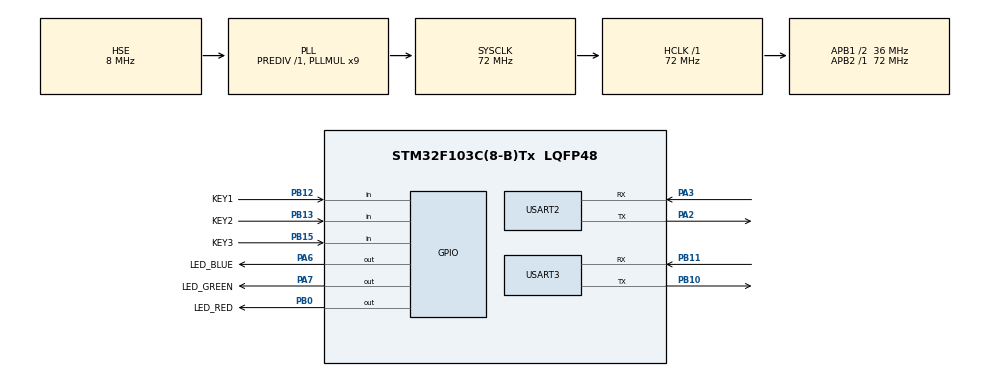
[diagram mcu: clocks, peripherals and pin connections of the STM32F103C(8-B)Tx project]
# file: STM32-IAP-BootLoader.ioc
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Mcu.Family=STM32F1
Mcu.Name=STM32F103C(8-B)Tx
Mcu.Package=LQFP48
NVIC.PriorityGroup=NVIC_PRIORITYGROUP_4
PA13.Mode=Serial_Wire
PA13.Signal=SYS_JTMS-SWDIO
PA14.Mode=Serial_Wire
PA14.Signal=SYS_JTCK-SWCLK
PA2.Mode=Asynchronous
PA2.Signal=USART2_TX
PA3.Mode=Asynchronous
PA3.Signal=USART2_RX
PA6.GPIO_Label=LED_BLUE
PA6.Signal=GPIO_Output
PA7.GPIO_Label=LED_GREEN
PA7.Signal=GPIO_Output
PB0.GPIO_Label=LED_RED
PB0.Signal=GPIO_Output
PB10.Mode=Asynchronous
PB10.Signal=USART3_TX
PB11.Mode=Asynchronous
PB11.Signal=USART3_RX
PB12.GPIO_Label=KEY1
PB12.Signal=GPIO_Input
PB13.GPIO_Label=KEY2
PB13.GPIO_PuPd=GPIO_PULLUP
PB13.Signal=GPIO_Input
PB15.GPIO_Label=KEY3
PB15.GPIO_PuPd=GPIO_PULLUP
PB15.Signal=GPIO_Input
PD0-OSC_IN.Mode=HSE-External-Oscillator
PD0-OSC_IN.Signal=RCC_OSC_IN
PD1-OSC_OUT.Mode=HSE-External-Oscillator
PD1-OSC_OUT.Signal=RCC_OSC_OUT
ProjectManager.HeapSize=0x200
ProjectManager.StackSize=0x400
ProjectManager.TargetToolchain=STM32CubeIDE
RCC.ADCPresc=RCC_ADCPCLK2_DIV6
RCC.AHBFreq_Value=72000000
RCC.APB1CLKDivider=RCC_HCLK_DIV2
RCC.APB1Freq_Value=36000000
RCC.APB1TimFreq_Value=72000000
RCC.APB2Freq_Value=72000000
RCC.APB2TimFreq_Value=72000000
RCC.HCLKFreq_Value=72000000
RCC.PLLMUL=RCC_PLL_MUL9
RCC.PLLSourceVirtual=RCC_PLLSOURCE_HSE
RCC.SYSCLKFreq_VALUE=72000000
RCC.SYSCLKSource=RCC_SYSCLKSOURCE_PLLCLK
RCC.USBFreq_Value=72000000
USART2.VirtualMode=VM_ASYNC
USART3.VirtualMode=VM_ASYNC
board=custom

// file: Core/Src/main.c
/* USER CODE BEGIN Header */
/**
  ******************************************************************************
  * @file           : main.c
  * @brief          : Main program body
  ******************************************************************************
  * @attention
  *
  * Copyright (c) 2025 STMicroelectronics.
  * All rights reserved.
  *
  * This software is licensed under terms that can be found in the LICENSE file
  * in the root directory of this software component.
  * If no LICENSE file comes with this software, it is provided AS-IS.
  *
  ******************************************************************************
  */
/* USER CODE END Header */
#include "main.h"
#include "usart.h"
#include "gpio.h"

/* USER CODE BEGIN Includes */
#include <stdio.h>
#include <string.h>
#include <stdint.h>
#include "bsp_key.h"
#include "bsp_led.h"

/* USER CODE END Includes */

/* USER CODE BEGIN PD */
// IAP相关宏定义
#define APPLICATION_ADDRESS     0x08004000  // 应用程序起始地址
#define BOOTLOADER_SIZE         0x4000      // Bootloader大小16KB
#define APP_MAX_SIZE            0xC000      // 应用程序最大48KB

// UART接收相关
#define RX_BUFFER_SIZE          1024
#define IAP_TIMEOUT             5000        // IAP超时5秒

// IAP协议定义
#define IAP_CMD_START           0x55AA      // 开始传输命令
#define IAP_CMD_DATA            0x33CC      // 数据包命令
#define IAP_CMD_END             0x99FF      // 结束传输命令
#define IAP_ACK                 0xA5        // 应答
#define IAP_NACK                0x5A        // 否定应答

// 特殊标志，用于指示直接启动应用程序
#define JUMP_TO_APP_FLAG        0x12345678  // 魔术数字

// Flash操作返回值
#define FLASH_OK                0
#define FLASH_ERROR             1
#define FLASH_VERIFY_ERROR      2

/* USER CODE END PD */

/* USER CODE BEGIN PV */
// 用于跳转应用程序的标志变量，存储在RAM中
volatile uint32_t jump_to_app_flag __attribute__((section(".noinit")));

// Banner字符画
const char* banner =
"\r\n"
"  _____ _______ __  __ ____  ___    _____ _          _____  \r\n"
" / ____|__   __|  \\/  |___ \\|__ \\  |_   _| |   /\\   |  __ \\ \r\n"
"| (___    | |  | \\  / | __) |  ) |   | | | |  /  \\  | |__) |\r\n"
" \\___ \\   | |  | |\\/| ||__ <  / /    | | | | / /\\ \\ |  ___/ \r\n"
" ____) |  | |  | |  | |___) |/ /_   _| |_| |/ ____ \\| |     \r\n"
"|_____/   |_|  |_|  |_|____/|____|  |_____|_/    \\_\\_|     \r\n"
"\r\n"
"============================================================\r\n"
"          STM32F103 Bootloader v1.0                       \r\n"
"          UART In-Application Programming                  \r\n"
"============================================================\r\n"
"\r\n";

const char* startup_msg =
"Press any key to enter IAP mode...\r\n"
"Auto boot in %d seconds\r\n";

const char* iap_menu =
"\r\n"
"=== IAP Mode Activated ===\r\n"
"Do you want to upgrade firmware? (yes/no): ";

const char* wait_file_msg =
"\r\n"
"Please send the binary file via UART...\r\n"
"Waiting for file transfer...\r\n";
/* USER CODE END PV */

void SystemClock_Config(void);

/* USER CODE BEGIN 0 */
void UART_SendString(const char* str)
{
    HAL_UART_Transmit(&huart2, (uint8_t*)str, strlen(str), 1000);
}

// Flash操作函数
uint32_t Flash_Init(void)
{
    HAL_FLASH_Unlock();

    // 清除所有错误标志
    __HAL_FLASH_CLEAR_FLAG(FLASH_FLAG_EOP | FLASH_FLAG_PGERR | FLASH_FLAG_WRPERR);

    return FLASH_OK;
}

void Flash_DeInit(void)
{
    HAL_FLASH_Lock();
}

uint32_t Flash_ErasePage(uint32_t page_addr)
{
    FLASH_EraseInitTypeDef erase_init;
    uint32_t page_error = 0;

    Flash_Init();

    erase_init.TypeErase = FLASH_TYPEERASE_PAGES;
    erase_init.PageAddress = page_addr;
    erase_init.NbPages = 1;

    if (HAL_FLASHEx_Erase(&erase_init, &page_error) != HAL_OK)
    {
        Flash_DeInit();
        return FLASH_ERROR;
    }

    Flash_DeInit();
    return FLASH_OK;
}

uint32_t Flash_EraseApplication(void)
{
    uint32_t page_addr;
    uint32_t result = FLASH_OK;

    // 擦除应用程序区域（从0x08004000到0x0800FFFF，共48KB，48页）
    for (page_addr = APPLICATION_ADDRESS; page_addr < (APPLICATION_ADDRESS + APP_MAX_SIZE); page_addr += FLASH_PAGE_SIZE)
    {
        if (Flash_ErasePage(page_addr) != FLASH_OK)
        {
            result = FLASH_ERROR;
            break;
        }
    }

    return result;
}

uint32_t Flash_WriteData(uint32_t flash_addr, uint8_t* data, uint32_t length)
{
    uint32_t i;
    uint16_t half_word;

    Flash_Init();

    // STM32F1系列需要按半字（16位）写入
    for (i = 0; i < length; i += 2)
    {
        if (i + 1 < length)
        {
            half_word = data[i] | (data[i + 1] << 8);
        }
        else
        {
            half_word = data[i] | 0xFF00;  // 最后一个字节，高位补0xFF
        }

        if (HAL_FLASH_Program(FLASH_TYPEPROGRAM_HALFWORD, flash_addr + i, half_word) != HAL_OK)
        {
            Flash_DeInit();
            return FLASH_ERROR;
        }

        // 验证写入的数据
        if (*(uint16_t*)(flash_addr + i) != half_word)
        {
            Flash_DeInit();
            return FLASH_VERIFY_ERROR;
        }
    }

    Flash_DeInit();
    return FLASH_OK;
}

// 检查应用程序是否有效
uint8_t IAP_CheckApplication(uint32_t app_addr)
{
    uint32_t stack_addr = *(__IO uint32_t*)app_addr;
    uint32_t reset_addr = *(__IO uint32_t*)(app_addr + 4);

    // 检查栈指针是否在有效范围内
    if ((stack_addr & 0x2FFE0000) == 0x20000000)
    {
        // 检查复位向量是否在Flash范围内
        if ((reset_addr & 0xFF000000) == 0x08000000)
        {
            return 1; // 应用程序有效
        }
    }
    return 0; // 应用程序无效
}

// 跳转到应用程序
void IAP_JumpToApplication(uint32_t app_addr)
{
    // 获取应用程序的栈指针和复位向量
    uint32_t stack_addr = *(volatile uint32_t*)app_addr;
    uint32_t jump_addr = *(volatile uint32_t*)(app_addr + 4);

    // 验证栈指针 (应该在SRAM范围内: 0x20000000 - 0x20005000)
    if ((stack_addr < 0x20000000) || (stack_addr > 0x20005000))
    {
        char error_msg[64];
        snprintf(error_msg, sizeof(error_msg), "Invalid stack pointer: 0x%08lX\r\n", stack_addr);
        UART_SendString(error_msg);
        return;
    }

    // 验证跳转地址的有效性 (Thumb位必须为1，且在Flash范围内)
    if ((jump_addr & 0x01) == 0 || (jump_addr < 0x08004000) || (jump_addr > 0x08010000))
    {
        char error_msg[64];
        snprintf(error_msg, sizeof(error_msg), "Invalid jump address: 0x%08lX\r\n", jump_addr);
        UART_SendString(error_msg);
        return;
    }

    // 发送调试信息
    char debug_msg[128];
    snprintf(debug_msg, sizeof(debug_msg), "Stack: 0x%08lX, Jump: 0x%08lX\r\n", stack_addr, jump_addr);
    UART_SendString(debug_msg);
    UART_SendString("Preparing to jump...\r\n");

    // 等待UART发送完成
    HAL_Delay(100);

    // 重要：直接跳转，不使用系统复位
    // 这样可以避免复位后的初始化问题

    // 关闭所有中断
    __disable_irq();

    // 反初始化HAL库和外设
    HAL_DeInit();

    for (int i = 0; i < 8; i++)
    {
        NVIC->ICPR[i] = 0xFFFFFFFF;  // 清除挂起中断
    }

    // 设置向量表到应用程序地址
    SCB->VTOR = app_addr;

    // 设置主栈指针
    __set_MSP(stack_addr);

    // 内存屏障，确保所有写操作完成
    __DSB();
    __ISB();

    // 跳转到应用程序
    void (*app_reset_handler)(void) = (void*)jump_addr;
    app_reset_handler();

    // 如果到达这里，说明跳转失败
    while(1);
}

// 发送IAP应答
void IAP_SendAck(uint8_t ack)
{
    HAL_UART_Transmit(&huart3, &ack, 1, 1000);
}

// 接收固定长度数据
uint32_t IAP_ReceiveData(uint8_t* buffer, uint32_t length, uint32_t timeout)
{
    return HAL_UART_Receive(&huart3, buffer, length, timeout);
}

// 简单的IAP协议实现
void IAP_ExecuteUpgrade(void)
{
    const char* msg = "IAP Mode: Waiting for firmware...\r\n";
    UART_SendString(msg);

    uint8_t buffer[256];  // 数据缓冲区
    uint32_t write_addr = APPLICATION_ADDRESS;
    uint32_t total_received = 0;
    uint16_t cmd;
    uint32_t file_size = 0;
    uint16_t packet_size;
    uint32_t packet_count = 0;

    while (1)
    {
        // 接收命令（2字节）
        if (IAP_ReceiveData((uint8_t*)&cmd, 2, 30000) != HAL_OK)
        {
            UART_SendString("Timeout waiting for command\r\n");
            break;
        }

        switch (cmd)
        {
            case IAP_CMD_START:
            {
                IAP_SendAck(IAP_ACK);
                UART_SendString("Received START command\r\n");
                UART_SendString("Ready for file size\r\n");

                // 接收文件大小（4字节）
                if (IAP_ReceiveData((uint8_t*)&file_size, 4, 5000) != HAL_OK)
                {
                    UART_SendString("Failed to receive file size\r\n");
                    IAP_SendAck(IAP_NACK);
                    break;
                }

                char size_msg[64];
                snprintf(size_msg, sizeof(size_msg), "File size: %lu bytes\r\n", file_size);
                UART_SendString(size_msg);

                // 检查文件大小
                if (file_size > APP_MAX_SIZE)
                {
                    UART_SendString("File too large!\r\n");
                    IAP_SendAck(IAP_NACK);
                    break;
                }

                // 擦除应用程序区域
                UART_SendString("Erasing application area...\r\n");
                if (Flash_EraseApplication() != FLASH_OK)
                {
                    UART_SendString("Flash erase failed!\r\n");
                    IAP_SendAck(IAP_NACK);
                    break;
                }

                UART_SendString("Ready to receive data\r\n");
                write_addr = APPLICATION_ADDRESS;
                total_received = 0;
                packet_count = 0;
                IAP_SendAck(IAP_ACK);
                break;
            }

            case IAP_CMD_DATA:
            {
                // 接收数据包大小（2字节）
                if (IAP_ReceiveData((uint8_t*)&packet_size, 2, 5000) != HAL_OK)
                {
                    UART_SendString("Failed to receive packet size\r\n");
                    IAP_SendAck(IAP_NACK);
                    break;
                }

                // 检查数据包大小
                if (packet_size > sizeof(buffer))
                {
                    UART_SendString("Packet too large!\r\n");
                    IAP_SendAck(IAP_NACK);
                    break;
                }

                // 接收数据
                if (IAP_ReceiveData(buffer, packet_size, 5000) != HAL_OK)
                {
                    UART_SendString("Failed to receive data\r\n");
                    IAP_SendAck(IAP_NACK);
                    break;
                }

                // 写入Flash
                if (Flash_WriteData(write_addr, buffer, packet_size) != FLASH_OK)
                {
                    UART_SendString("Flash write failed!\r\n");
                    IAP_SendAck(IAP_NACK);
                    break;
                }

                write_addr += packet_size;
                total_received += packet_size;
                packet_count++;

                // 进度显示（每10包显示一次）
                if ((packet_count % 10) == 0)
                {
                    char progress_msg[64];
                    uint32_t progress = (total_received * 100) / file_size;
                    snprintf(progress_msg, sizeof(progress_msg), "Progress: %lu%%\r\n", progress);
                    UART_SendString(progress_msg);
                }

                IAP_SendAck(IAP_ACK);
                break;
            }

            case IAP_CMD_END:
            {
                UART_SendString("Received END command\r\n");

                // 验证应用程序
                if (IAP_CheckApplication(APPLICATION_ADDRESS))
                {
                    UART_SendString("Firmware upgrade successful!\r\n");
                    IAP_SendAck(IAP_ACK);
                    HAL_Delay(1000);
                    HAL_NVIC_SystemReset();
                }
                else
                {
                    UART_SendString("Invalid application!\r\n");
                    IAP_SendAck(IAP_NACK);
                }
                return;
            }

            default:
            {
                IAP_SendAck(IAP_NACK);
                break;
            }
        }
    }

    // 升级失败，重启
    UART_SendString("IAP failed, restarting...\r\n");
    HAL_Delay(3000);
    HAL_NVIC_SystemReset();
}

/* USER CODE END 0 */

int main(void)
{

  /* MCU Configuration--------------------------------------------------------*/

  /* Reset of all peripherals, Initializes the Flash interface and the Systick. */
  HAL_Init();

  /* Configure the system clock */
  SystemClock_Config();

  /* Initialize all configured peripherals */
  MX_GPIO_Init();
  MX_USART2_UART_Init();
  MX_USART3_UART_Init();
  /* USER CODE BEGIN 2 */

  // 发送启动Banner
  UART_SendString(banner);

  // 等待用户输入或超时
  uint8_t rx_char;
  uint32_t timeout = IAP_TIMEOUT;  // 5秒超时

  while (timeout > 0)
  {
      // 非阻塞检查串口输入
      if (HAL_UART_Receive(&huart2, &rx_char, 1, 0) == HAL_OK)
      {
          // 用户按了任意键，进入IAP模式
          const char* iap_msg = "\r\nEntering IAP mode...\r\n";
          UART_SendString(iap_msg);
          IAP_ExecuteUpgrade();
          // 升级完成后会自动重启，不会到达这里
      }

      // 显示倒计时（每秒更新一次）
      if ((timeout % 1000) == 0)
      {
          char countdown[64];
          snprintf(countdown, sizeof(countdown), "Auto boot in %ld seconds...\r\n", timeout/1000);
          UART_SendString(countdown);
      }

      timeout--;
      HAL_Delay(1);  // 1ms延迟
  }

  // 超时，检查应用程序
  const char* timeout_msg = "\r\nTimeout! Checking application...\r\n";
  UART_SendString(timeout_msg);

  if (IAP_CheckApplication(APPLICATION_ADDRESS))
  {
      const char* jump_msg = "\r\nJumping to application...\r\n";
      UART_SendString(jump_msg);
      HAL_Delay(100);

      IAP_JumpToApplication(APPLICATION_ADDRESS);
  }
  else
  {
      const char* no_app_msg = "\r\nNo valid application found!\r\n";
      UART_SendString(no_app_msg);
      const char* force_iap_msg = "Entering IAP mode...\r\n";
      UART_SendString(force_iap_msg);

      IAP_ExecuteUpgrade();
  }

  /* USER CODE END 2 */

  /* Infinite loop */
  while (1)
  {

  }
}

void SystemClock_Config(void)
{
  RCC_OscInitTypeDef RCC_OscInitStruct = {0};
  RCC_ClkInitTypeDef RCC_ClkInitStruct = {0};

  /** Initializes the RCC Oscillators according to the specified parameters
  * in the RCC_OscInitTypeDef structure.
  */
  RCC_OscInitStruct.OscillatorType = RCC_OSCILLATORTYPE_HSE;
  RCC_OscInitStruct.HSEState = RCC_HSE_ON;
  RCC_OscInitStruct.HSEPredivValue = RCC_HSE_PREDIV_DIV1;
  RCC_OscInitStruct.HSIState = RCC_HSI_ON;
  RCC_OscInitStruct.PLL.PLLState = RCC_PLL_ON;
  RCC_OscInitStruct.PLL.PLLSource = RCC_PLLSOURCE_HSE;
  RCC_OscInitStruct.PLL.PLLMUL = RCC_PLL_MUL9;
  if (HAL_RCC_OscConfig(&RCC_OscInitStruct) != HAL_OK)
  {
    Error_Handler();
  }

  /** Initializes the CPU, AHB and APB buses clocks
  */
  RCC_ClkInitStruct.ClockType = RCC_CLOCKTYPE_HCLK|RCC_CLOCKTYPE_SYSCLK
                              |RCC_CLOCKTYPE_PCLK1|RCC_CLOCKTYPE_PCLK2;
  RCC_ClkInitStruct.SYSCLKSource = RCC_SYSCLKSOURCE_PLLCLK;
  RCC_ClkInitStruct.AHBCLKDivider = RCC_SYSCLK_DIV1;
  RCC_ClkInitStruct.APB1CLKDivider = RCC_HCLK_DIV2;
  RCC_ClkInitStruct.APB2CLKDivider = RCC_HCLK_DIV1;

  if (HAL_RCC_ClockConfig(&RCC_ClkInitStruct, FLASH_LATENCY_2) != HAL_OK)
  {
    Error_Handler();
  }
}

void Error_Handler(void)
{
  __disable_irq();
  while (1)
  {
  }
}
